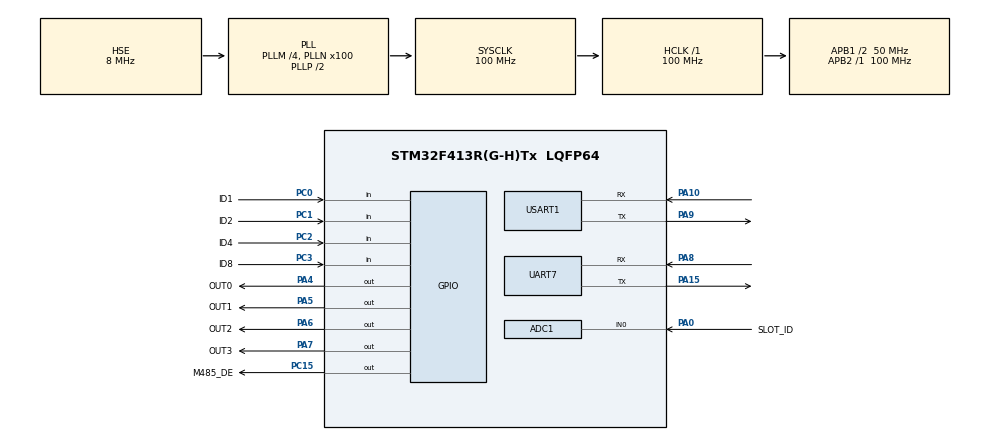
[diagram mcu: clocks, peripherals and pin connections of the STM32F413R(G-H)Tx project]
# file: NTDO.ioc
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ADC1.Channel-0\#ChannelRegularConversion=ADC_CHANNEL_0
ADC1.ClockPrescaler=ADC_CLOCK_SYNC_PCLK_DIV4
ADC1.ContinuousConvMode=DISABLE
ADC1.DMAContinuousRequests=DISABLE
ADC1.DataAlign=ADC_DATAALIGN_RIGHT
ADC1.DiscontinuousConvMode=DISABLE
ADC1.EOCSelection=ADC_EOC_SINGLE_CONV
ADC1.EnableAnalogWatchDog=false
ADC1.ExternalTrigConv=ADC_SOFTWARE_START
ADC1.ExternalTrigConvEdge=ADC_EXTERNALTRIGCONVEDGE_NONE
ADC1.InjNumberOfConversion=0
ADC1.NbrOfConversion=1
ADC1.NbrOfConversionFlag=1
ADC1.Rank-0\#ChannelRegularConversion=1
ADC1.Resolution=ADC_RESOLUTION_12B
ADC1.SamplingTime-0\#ChannelRegularConversion=ADC_SAMPLETIME_3CYCLES
ADC1.ScanConvMode=DISABLE
ADC1.master=1
FREERTOS.Tasks01=mainTask,2,128,StartMainTask,Default,NULL,Dynamic,NULL,NULL;debugTask,-1,128,StartDebugTask,Default,NULL,Dynamic,NULL,NULL;outputTask,0,128,StartOutputTask,Default,NULL,Dynamic,NULL,NULL
IWDG.Prescaler=IWDG_PRESCALER_32
IWDG.Reload=1000
Mcu.Family=STM32F4
Mcu.Name=STM32F413R(G-H)Tx
Mcu.Package=LQFP64
NVIC.PriorityGroup=NVIC_PRIORITYGROUP_4
NVIC.TIM1_UP_TIM10_IRQn=true\:6\:0\:true\:true\:true\:3\:true\:true
NVIC.TIM6_DAC_IRQn=true\:0\:0\:false\:false\:true\:false\:false
NVIC.TimeBase=TIM6_DAC_IRQn
NVIC.TimeBaseIP=TIM6
NVIC.UART7_IRQn=true\:5\:0\:false\:true\:true\:2\:true\:true
NVIC.USART1_IRQn=true\:7\:0\:true\:true\:true\:1\:true\:true
PA0.GPIO_Label=SLOT_ID
PA0.Signal=ADCx_IN0
PA10.Mode=Asynchronous
PA10.Signal=USART1_RX
PA13.Mode=Serial_Wire
PA13.Signal=SYS_JTMS-SWDIO
PA14.Mode=Serial_Wire
PA14.Signal=SYS_JTCK-SWCLK
PA15.Mode=Asynchronous
PA15.Signal=UART7_TX
PA4.GPIO_Label=OUT0
PA4.Signal=GPIO_Output
PA5.GPIO_Label=OUT1
PA5.Signal=GPIO_Output
PA6.GPIO_Label=OUT2
PA6.Signal=GPIO_Output
PA7.GPIO_Label=OUT3
PA7.Signal=GPIO_Output
PA8.Mode=Asynchronous
PA8.Signal=UART7_RX
PA9.Mode=Asynchronous
PA9.Signal=USART1_TX
PC0.GPIO_Label=ID1
PC0.GPIO_PuPd=GPIO_PULLUP
PC0.Signal=GPIO_Input
PC1.GPIO_Label=ID2
PC1.GPIO_PuPd=GPIO_PULLUP
PC1.Signal=GPIO_Input
PC15-OSC32_OUT.GPIO_Label=M485_DE
PC15-OSC32_OUT.Signal=GPIO_Output
PC2.GPIO_Label=ID4
PC2.GPIO_PuPd=GPIO_PULLUP
PC2.Signal=GPIO_Input
PC3.GPIO_Label=ID8
PC3.GPIO_PuPd=GPIO_PULLUP
PC3.Signal=GPIO_Input
PH0\ -\ OSC_IN.Mode=HSE-External-Oscillator
PH0\ -\ OSC_IN.Signal=RCC_OSC_IN
PH1\ -\ OSC_OUT.Mode=HSE-External-Oscillator
PH1\ -\ OSC_OUT.Signal=RCC_OSC_OUT
ProjectManager.HeapSize=0x200
ProjectManager.StackSize=0x400
ProjectManager.TargetToolchain=EWARM V8
RCC.AHBFreq_Value=100000000
RCC.APB1CLKDivider=RCC_HCLK_DIV2
RCC.APB1Freq_Value=50000000
RCC.APB1TimFreq_Value=100000000
RCC.APB2Freq_Value=100000000
RCC.APB2TimFreq_Value=100000000
RCC.CortexFreq_Value=100000000
RCC.HCLKFreq_Value=100000000
RCC.HSE_VALUE=8000000
RCC.PLLM=4
RCC.PLLN=100
RCC.PLLSourceVirtual=RCC_PLLSOURCE_HSE
RCC.SYSCLKFreq_VALUE=100000000
RCC.SYSCLKSource=RCC_SYSCLKSOURCE_PLLCLK
RCC.USBFreq_Value=100000000
RCC.VCOOutputFreq_Value=200000000
SH.ADCx_IN0.0=ADC1_IN0,IN0
TIM1.Period=1000
TIM1.Prescaler=100
UART7.VirtualMode=Asynchronous
USART1.VirtualMode=VM_ASYNC
VP_FREERTOS_VS_ENABLE.Mode=Enabled
VP_IWDG_VS_IWDG.Mode=IWDG_Activate
VP_SYS_VS_tim6.Mode=TIM6
VP_TIM1_VS_ClockSourceINT.Mode=Internal
board=custom

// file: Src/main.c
/* USER CODE BEGIN Header */
/**
  ******************************************************************************
  * @file           : main.c
  * @brief          : Main program body
  ******************************************************************************
  * This notice applies to any and all portions of this file
  * that are not between comment pairs USER CODE BEGIN and
  * USER CODE END. Other portions of this file, whether
  * inserted by the user or by software development tools
  * are owned by their respective copyright owners.
  *
  * Copyright (c) 2019 STMicroelectronics International N.V.
  * All rights reserved.
  *
  * Redistribution and use in source and binary forms, with or without
  * modification, are permitted, provided that the following conditions are met:
  *
  * 1. Redistribution of source code must retain the above copyright notice,
  *    this list of conditions and the following disclaimer.
  * 2. Redistributions in binary form must reproduce the above copyright notice,
  *    this list of conditions and the following disclaimer in the documentation
  *    and/or other materials provided with the distribution.
  * 3. Neither the name of STMicroelectronics nor the names of other
  *    contributors to this software may be used to endorse or promote products
  *    derived from this software without specific written permission.
  * 4. This software, including modifications and/or derivative works of this
  *    software, must execute solely and exclusively on microcontroller or
  *    microprocessor devices manufactured by or for STMicroelectronics.
  * 5. Redistribution and use of this software other than as permitted under
  *    this license is void and will automatically terminate your rights under
  *    this license.
  *
  * THIS SOFTWARE IS PROVIDED BY STMICROELECTRONICS AND CONTRIBUTORS "AS IS"
  * AND ANY EXPRESS, IMPLIED OR STATUTORY WARRANTIES, INCLUDING, BUT NOT
  * LIMITED TO, THE IMPLIED WARRANTIES OF MERCHANTABILITY, FITNESS FOR A
  * PARTICULAR PURPOSE AND NON-INFRINGEMENT OF THIRD PARTY INTELLECTUAL PROPERTY
  * RIGHTS ARE DISCLAIMED TO THE FULLEST EXTENT PERMITTED BY LAW. IN NO EVENT
  * SHALL STMICROELECTRONICS OR CONTRIBUTORS BE LIABLE FOR ANY DIRECT, INDIRECT,
  * INCIDENTAL, SPECIAL, EXEMPLARY, OR CONSEQUENTIAL DAMAGES (INCLUDING, BUT NOT
  * LIMITED TO, PROCUREMENT OF SUBSTITUTE GOODS OR SERVICES; LOSS OF USE, DATA,
  * OR PROFITS; OR BUSINESS INTERRUPTION) HOWEVER CAUSED AND ON ANY THEORY OF
  * LIABILITY, WHETHER IN CONTRACT, STRICT LIABILITY, OR TORT (INCLUDING
  * NEGLIGENCE OR OTHERWISE) ARISING IN ANY WAY OUT OF THE USE OF THIS SOFTWARE,
  * EVEN IF ADVISED OF THE POSSIBILITY OF SUCH DAMAGE.
  *
  ******************************************************************************
  */
/* USER CODE END Header */

#include "main.h"
#include "cmsis_os.h"
#include "adc.h"
#include "iwdg.h"
#include "tim.h"
#include "usart.h"
#include "gpio.h"

/* USER CODE BEGIN Includes */
#include <stdbool.h>

/* USER CODE END Includes */

/* USER CODE BEGIN PV */
unsigned int iwdgTick;
unsigned int tickMs = 0, sec = 0;

extern unsigned short xmitTime, mainRecvTime;

/* USER CODE END PV */

void SystemClock_Config(void);
void MX_FREERTOS_Init(void);
static void MX_NVIC_Init(void);

/* USER CODE BEGIN 0 */
#ifdef __GNUC__
	/* WIth GCC, small printf (option LD Linker->Libraries->Small printf
	   set to 'Yes') calls __io_putchar() */
	#define PUTCHAR_PROTOTYPE int __io_putchar(int ch)
#else
	#define PUTCHAR_PROTOTYPE int fputc(int ch, FILE *f)
#endif	/* __GNUC__ */

/**
  * @brief	Retargets the C libraryprintf function to the USART.
  * @param	None
  * @retal	None
  */
PUTCHAR_PROTOTYPE
{
	/* Place ypur implementations of fputc here */
	/* e.g. write a character to the USART2 and Loop until the end of transmission */
//	HAL_UART_Transmit(&huart1, (uint8_t *)&ch, 1, 0xFFFF);
	if( ch == '\n' )	HAL_UART_Transmit(&huart1, "\r\n", 2, 0xFFFF);
	else				HAL_UART_Transmit(&huart1, (uint8_t *)&ch, 1, 0xFFFF);
	return ch;
}

/* USER CODE END 0 */

int main(void)
{

	/* MCU Configuration--------------------------------------------------------*/

	/* Reset of all peripherals, Initializes the Flash interface and the Systick. */
	HAL_Init();

	/* Configure the system clock */
	SystemClock_Config();

	/* Initialize all configured peripherals */
	MX_GPIO_Init();
	MX_ADC1_Init();
	MX_IWDG_Init();
	MX_UART7_Init();
	MX_USART1_UART_Init();
	MX_TIM1_Init();

	/* Initialize interrupts */
	MX_NVIC_Init();

	/* USER CODE BEGIN 2 */
	HAL_TIM_Base_Start_IT(&htim1);	// time base의 타이머 인터럽트 시작
	__HAL_IWDG_START(&hiwdg);		// 워치독 시작
	iwdgTick = 0;

	/* USER CODE END 2 */

	/* Call init function for freertos objects (in freertos.c) */
	MX_FREERTOS_Init();

	/* Start scheduler */
	osKernelStart();

	/* We should never get here as control is now taken by the scheduler */

	/* Infinite loop */
	while (1)
	{
	}
}

void SystemClock_Config(void)
{
	RCC_OscInitTypeDef RCC_OscInitStruct = {0};
	RCC_ClkInitTypeDef RCC_ClkInitStruct = {0};

	/**Configure the main internal regulator output voltage
	*/
	__HAL_RCC_PWR_CLK_ENABLE();
	__HAL_PWR_VOLTAGESCALING_CONFIG(PWR_REGULATOR_VOLTAGE_SCALE1);
	/**Initializes the CPU, AHB and APB busses clocks
	*/
	RCC_OscInitStruct.OscillatorType = RCC_OSCILLATORTYPE_LSI|RCC_OSCILLATORTYPE_HSE;
	RCC_OscInitStruct.HSEState = RCC_HSE_ON;
	RCC_OscInitStruct.LSIState = RCC_LSI_ON;
	RCC_OscInitStruct.PLL.PLLState = RCC_PLL_ON;
	RCC_OscInitStruct.PLL.PLLSource = RCC_PLLSOURCE_HSE;
	RCC_OscInitStruct.PLL.PLLM = 4;
	RCC_OscInitStruct.PLL.PLLN = 100;
	RCC_OscInitStruct.PLL.PLLP = RCC_PLLP_DIV2;
	RCC_OscInitStruct.PLL.PLLQ = 2;
	RCC_OscInitStruct.PLL.PLLR = 2;
	if( HAL_RCC_OscConfig(&RCC_OscInitStruct) != HAL_OK ) {
		Error_Handler();
	}
	/**Initializes the CPU, AHB and APB busses clocks
	*/
	RCC_ClkInitStruct.ClockType = RCC_CLOCKTYPE_HCLK | RCC_CLOCKTYPE_SYSCLK
	|RCC_CLOCKTYPE_PCLK1|RCC_CLOCKTYPE_PCLK2;
	RCC_ClkInitStruct.SYSCLKSource = RCC_SYSCLKSOURCE_PLLCLK;
	RCC_ClkInitStruct.AHBCLKDivider = RCC_SYSCLK_DIV1;
	RCC_ClkInitStruct.APB1CLKDivider = RCC_HCLK_DIV2;
	RCC_ClkInitStruct.APB2CLKDivider = RCC_HCLK_DIV1;

	if( HAL_RCC_ClockConfig(&RCC_ClkInitStruct, FLASH_LATENCY_3) != HAL_OK ) {
		Error_Handler();
	}
}

/**
  * @brief NVIC Configuration.
  * @retval None
  */
static void MX_NVIC_Init(void)
{
	/* USART1_IRQn interrupt configuration */
	HAL_NVIC_SetPriority(USART1_IRQn, 7, 0);
	HAL_NVIC_EnableIRQ(USART1_IRQn);
	/* UART7_IRQn interrupt configuration */
	HAL_NVIC_SetPriority(UART7_IRQn, 5, 0);
	HAL_NVIC_EnableIRQ(UART7_IRQn);
	/* TIM1_UP_TIM10_IRQn interrupt configuration */
	HAL_NVIC_SetPriority(TIM1_UP_TIM10_IRQn, 6, 0);
	HAL_NVIC_EnableIRQ(TIM1_UP_TIM10_IRQn);
}

void HAL_TIM_PeriodElapsedCallback(TIM_HandleTypeDef *htim)
{
	/* USER CODE BEGIN Callback 0 */
	if( htim->Instance == TIM1 ) {
		if( ++tickMs == 1000 ) {
			tickMs = 0;
			sec++;
		}

		if( ++iwdgTick > 500 ) {
			__HAL_IWDG_RELOAD_COUNTER(&hiwdg);		// 워치독 재시작
			iwdgTick = 0;
		}

		xmitTime++;
		mainRecvTime = 0;
	}

	/* USER CODE END Callback 0 */

	if( htim->Instance == TIM6 ) {
		HAL_IncTick();
	}

}

void Error_Handler(void)
{
}

/************************ (C) COPYRIGHT STMicroelectronics *****END OF FILE****/

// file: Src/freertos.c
/* USER CODE BEGIN Header */
/**
  ******************************************************************************
  * File Name          : freertos.c
  * Description        : Code for freertos applications
  ******************************************************************************
  * This notice applies to any and all portions of this file
  * that are not between comment pairs USER CODE BEGIN and
  * USER CODE END. Other portions of this file, whether
  * inserted by the user or by software development tools
  * are owned by their respective copyright owners.
  *
  * Copyright (c) 2019 STMicroelectronics International N.V.
  * All rights reserved.
  *
  * Redistribution and use in source and binary forms, with or without
  * modification, are permitted, provided that the following conditions are met:
  *
  * 1. Redistribution of source code must retain the above copyright notice,
  *    this list of conditions and the following disclaimer.
  * 2. Redistributions in binary form must reproduce the above copyright notice,
  *    this list of conditions and the following disclaimer in the documentation
  *    and/or other materials provided with the distribution.
  * 3. Neither the name of STMicroelectronics nor the names of other
  *    contributors to this software may be used to endorse or promote products
  *    derived from this software without specific written permission.
  * 4. This software, including modifications and/or derivative works of this
  *    software, must execute solely and exclusively on microcontroller or
  *    microprocessor devices manufactured by or for STMicroelectronics.
  * 5. Redistribution and use of this software other than as permitted under
  *    this license is void and will automatically terminate your rights under
  *    this license.
  *
  * THIS SOFTWARE IS PROVIDED BY STMICROELECTRONICS AND CONTRIBUTORS "AS IS"
  * AND ANY EXPRESS, IMPLIED OR STATUTORY WARRANTIES, INCLUDING, BUT NOT
  * LIMITED TO, THE IMPLIED WARRANTIES OF MERCHANTABILITY, FITNESS FOR A
  * PARTICULAR PURPOSE AND NON-INFRINGEMENT OF THIRD PARTY INTELLECTUAL PROPERTY
  * RIGHTS ARE DISCLAIMED TO THE FULLEST EXTENT PERMITTED BY LAW. IN NO EVENT
  * SHALL STMICROELECTRONICS OR CONTRIBUTORS BE LIABLE FOR ANY DIRECT, INDIRECT,
  * INCIDENTAL, SPECIAL, EXEMPLARY, OR CONSEQUENTIAL DAMAGES (INCLUDING, BUT NOT
  * LIMITED TO, PROCUREMENT OF SUBSTITUTE GOODS OR SERVICES; LOSS OF USE, DATA,
  * OR PROFITS; OR BUSINESS INTERRUPTION) HOWEVER CAUSED AND ON ANY THEORY OF
  * LIABILITY, WHETHER IN CONTRACT, STRICT LIABILITY, OR TORT (INCLUDING
  * NEGLIGENCE OR OTHERWISE) ARISING IN ANY WAY OUT OF THE USE OF THIS SOFTWARE,
  * EVEN IF ADVISED OF THE POSSIBILITY OF SUCH DAMAGE.
  *
  ******************************************************************************
  */
/* USER CODE END Header */

#include "FreeRTOS.h"
#include "task.h"
#include "main.h"
#include "cmsis_os.h"

/* USER CODE BEGIN Includes */
#include <stdbool.h>
#include <string.h>

#include "board.h"
#include "etc.h"
#include "nt_queue.h"
#include "usart.h"

/* USER CODE END Includes */

/* USER CODE BEGIN PD */
enum {
	XMIT_MODE = 1,
	RECEIVE_MODE,
	NEXT_MODE
};

/* USER CODE END PD */

/* USER CODE BEGIN Variables */
unsigned short xmitTime = 0, mainRecvTime = 0;

extern BoardInfo myInfo;
extern Queue mainReceiveQueue;
extern unsigned char mainReceiveBuffer[2];

extern unsigned char slotID;
extern unsigned char replyInfoData[38];
extern unsigned char replyDetailedData[43];
extern unsigned char replyData[16];
extern unsigned char portData[4][8];
extern short replyInfoLength, replyDetailedLength;

/* USER CODE END Variables */

osThreadId mainTaskHandle;
osThreadId debugTaskHandle;
osThreadId inputTaskHandle;

void StartMainTask(void const * argument);
void StartDebugTask(void const * argument);
void StartInputTask(void const * argument);

void MX_FREERTOS_Init(void); /* (MISRA C 2004 rule 8.1) */

void MX_FREERTOS_Init(void)
{
	/* USER CODE BEGIN Init */
	HAL_Delay(500);
	ReadBoardID();
	InitializeBoardInfo();
	InitializeData();

	/* USER CODE END Init */

	/* Create the thread(s) */
	/* definition and creation of mainTask */
//	osThreadDef(mainTask, StartMainTask, osPriorityHigh, 0, 512);
//	mainTaskHandle = osThreadCreate(osThread(mainTask), NULL);

	/* definition and creation of debugTask */
	osThreadDef(debugTask, StartDebugTask, osPriorityBelowNormal, 0, 256);
	debugTaskHandle = osThreadCreate(osThread(debugTask), NULL);

	/* definition and creation of inputTask */
	osThreadDef(inputTask, StartInputTask, osPriorityNormal, 0, 256);
	inputTaskHandle = osThreadCreate(osThread(inputTask), NULL);

}

void StartMainTask(void const * argument)
{
	/* USER CODE BEGIN StartMainTask */
	char parsingFlag = 0, headerCheck;
	unsigned char rcvData[100], parsingData[100], compareData[4];
	unsigned int rcvCount = 0, rcvLength;

	InitQueue(&mainReceiveQueue);
	HAL_UART_Receive_IT(&huart7, (uint8_t *)&mainReceiveBuffer, 1);

	headerCheck = NOT_OK;

	sprintf((char *)&compareData, "M%cT", slotID + 0x30);
	rcvCount = 0;

	/* Infinite loop */
	while( true) {
		if( !IsEmpty(&mainReceiveQueue) ) {
			rcvData[rcvCount++] = Dequeue(&mainReceiveQueue);

			if( headerCheck == NOT_OK ) {
				if( rcvCount == 3 ) {
					rcvData[rcvCount] = 0;
					if( memcmp(&rcvData[0], &compareData[0], 3) == 0 ) {
						headerCheck = OK;
					}
					else {
						rcvData[0] = rcvData[1];
						rcvData[1] = rcvData[2];
						rcvCount = 2;
					}
				}
			}
			else {
				if( rcvCount <= 6 ) {
					if( rcvCount == 6 )	rcvLength = (rcvData[4] << 8) | rcvData[5];
				}
				else {
					if( rcvCount == (rcvLength + 6) ) {
						memcpy(&parsingData[0], &rcvData[0], rcvLength + 6);
						parsingFlag = 1;
						headerCheck = NOT_OK;
					}
				}
			}
		}

		if( parsingFlag ) {
			switch( parsingData[3] ) {
				case REQUEST_INFO :
					TransmissionInfoDataToMain();
					HAL_UART_Transmit(&huart7, &replyInfoData[0], replyInfoLength, 1000);
					break;

				case REQUEST_DATA :
					TransmissionDetailedDataToMain();
					HAL_UART_Transmit(&huart7, &replyDetailedData[0], replyDetailedLength, 1000);
					break;

				case SET_INFO :
					SetBoardData(parsingData);
					replyData[3] = SET_INFO;
					HAL_UART_Transmit(&huart7, &replyData[0], 15, 1000);
					break;

				case CONTROL_DATA :
					replyData[3] = CONTROL_DATA;
					HAL_UART_Transmit(&huart7, &replyData[0], 15, 1000);
					break;

				case DOWNLOAD_READY :
					break;

				case DOWNLOAD_START :
					break;

				case DOWNLOAD_STOP :
					break;
			}
			rcvCount = 0;
			parsingFlag = 0;
		}

		osDelay(1);
	}
	/* USER CODE END StartMainTask */
}

void StartDebugTask(void const * argument)
{
	/* USER CODE BEGIN StartDebugTask */
	/* definition and creation of mainTask */
	osThreadDef(mainTask, StartMainTask, osPriorityHigh, 0, 512);
	mainTaskHandle = osThreadCreate(osThread(mainTask), NULL);

	/* Infinite loop */
	while( true ) {
		if( mainRecvTime >= 10000 ) {
			osThreadTerminate(mainTaskHandle);
			HAL_Delay(100);
			mainTaskHandle = osThreadCreate(osThread(mainTask), NULL);
			mainRecvTime = 0;
		}

		osDelay(1);
	}
	/* USER CODE END StartDebugTask */
}

void StartInputTask(void const * argument)
{
	/* USER CODE BEGIN StartInputTask */
	/* Infinite loop */
	while( true ) {
		if( portData[0][6] )	HAL_GPIO_WritePin(OUT0_GPIO_Port, OUT0_Pin, GPIO_PIN_SET);
		else					HAL_GPIO_WritePin(OUT0_GPIO_Port, OUT0_Pin, GPIO_PIN_RESET);
		if( portData[1][6] )	HAL_GPIO_WritePin(OUT1_GPIO_Port, OUT1_Pin, GPIO_PIN_SET);
		else					HAL_GPIO_WritePin(OUT1_GPIO_Port, OUT1_Pin, GPIO_PIN_RESET);
		if( portData[2][6] )	HAL_GPIO_WritePin(OUT2_GPIO_Port, OUT2_Pin, GPIO_PIN_SET);
		else					HAL_GPIO_WritePin(OUT2_GPIO_Port, OUT2_Pin, GPIO_PIN_RESET);
		if( portData[3][6] )	HAL_GPIO_WritePin(OUT3_GPIO_Port, OUT3_Pin, GPIO_PIN_SET);
		else					HAL_GPIO_WritePin(OUT3_GPIO_Port, OUT3_Pin, GPIO_PIN_RESET);

		osDelay(1);
	}
	/* USER CODE END StartInputTask */
}

/************************ (C) COPYRIGHT STMicroelectronics *****END OF FILE****/
